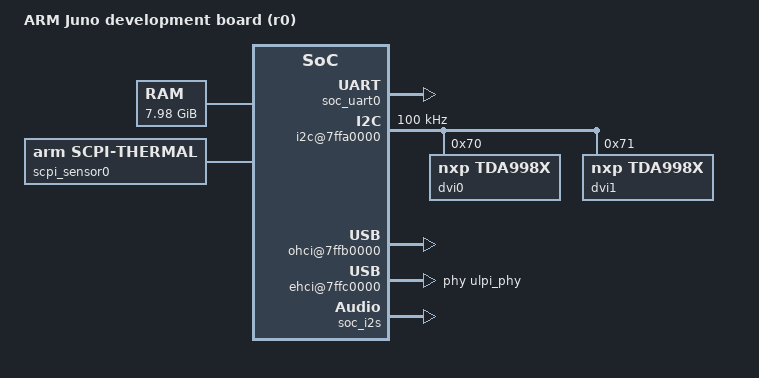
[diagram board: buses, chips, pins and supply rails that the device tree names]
/*
 * ARM Ltd. Juno Platform
 *
 * Copyright (c) 2013-2014 ARM Ltd.
 *
 * This file is licensed under a dual GPLv2 or BSD license.
 */

/dts-v1/;

#include <dt-bindings/interrupt-controller/arm-gic.h>
#include <dt-bindings/thermal/thermal.h>

/ {
	model = "ARM Juno development board (r0)";
	compatible = "arm,juno", "arm,vexpress";
	interrupt-parent = <&gic>;
	#address-cells = <2>;
	#size-cells = <2>;

	aliases {
		serial0 = &soc_uart0;
	};

	chosen {
		stdout-path = &soc_uart0;
	};

	psci {
		compatible = "arm,psci-0.2";
		method = "smc";
	};

	cpus {
		#address-cells = <2>;
		#size-cells = <0>;

		cpu-map {
			cluster0: cluster0 {
				#cooling-cells = <2>; /* min followed by max */

				core0 {
					cpu = <&A57_0>;
				};
				core1 {
					cpu = <&A57_1>;
				};
			};

			cluster1: cluster1 {
				#cooling-cells = <2>; /* min followed by max */

				core0 {
					cpu = <&A53_0>;
				};
				core1 {
					cpu = <&A53_1>;
				};
				core2 {
					cpu = <&A53_2>;
				};
				core3 {
					cpu = <&A53_3>;
				};
			};
		};

		idle-states {
			entry-method = "arm,psci";

			CPU_SLEEP_0: cpu-sleep-0 {
				compatible = "arm,idle-state";
				arm,psci-suspend-param = <0x0010000>;
				local-timer-stop;
				entry-latency-us = <40>;
				exit-latency-us = <100>;
				min-residency-us = <2000>;
			};

			CLUSTER_SLEEP_0: cluster-sleep-0 {
				compatible = "arm,idle-state";
				arm,psci-suspend-param = <0x1010000>;
				local-timer-stop;
				entry-latency-us = <500>;
				exit-latency-us = <1000>;
				min-residency-us = <2500>;
			};
		};

		A57_0: cpu@0 {
			compatible = "arm,cortex-a57","arm,armv8";
			reg = <0x0 0x0>;
			device_type = "cpu";
			enable-method = "psci";
			cpu-idle-states = <&CPU_SLEEP_0 &CLUSTER_SLEEP_0>;
			clocks = <&scpi_dvfs 0>;
			clock-names = "vbig";
		};

		A57_1: cpu@1 {
			compatible = "arm,cortex-a57","arm,armv8";
			reg = <0x0 0x1>;
			device_type = "cpu";
			enable-method = "psci";
			cpu-idle-states = <&CPU_SLEEP_0 &CLUSTER_SLEEP_0>;
			clocks = <&scpi_dvfs 0>;
			clock-names = "vbig";
		};

		A53_0: cpu@100 {
			compatible = "arm,cortex-a53","arm,armv8";
			reg = <0x0 0x100>;
			device_type = "cpu";
			enable-method = "psci";
			cpu-idle-states = <&CPU_SLEEP_0 &CLUSTER_SLEEP_0>;
			clocks = <&scpi_dvfs 1>;
			clock-names = "vlittle";
		};

		A53_1: cpu@101 {
			compatible = "arm,cortex-a53","arm,armv8";
			reg = <0x0 0x101>;
			device_type = "cpu";
			enable-method = "psci";
			cpu-idle-states = <&CPU_SLEEP_0 &CLUSTER_SLEEP_0>;
			clocks = <&scpi_dvfs 1>;
			clock-names = "vlittle";
		};

		A53_2: cpu@102 {
			compatible = "arm,cortex-a53","arm,armv8";
			reg = <0x0 0x102>;
			device_type = "cpu";
			enable-method = "psci";
			cpu-idle-states = <&CPU_SLEEP_0 &CLUSTER_SLEEP_0>;
			clocks = <&scpi_dvfs 1>;
			clock-names = "vlittle";
		};

		A53_3: cpu@103 {
			compatible = "arm,cortex-a53","arm,armv8";
			reg = <0x0 0x103>;
			device_type = "cpu";
			enable-method = "psci";
			cpu-idle-states = <&CPU_SLEEP_0 &CLUSTER_SLEEP_0>;
			clocks = <&scpi_dvfs 1>;
			clock-names = "vlittle";
		};
	};

	memory@80000000 {
		device_type = "memory";
		/* last 16MB of the first memory area is reserved for secure world use by firmware */
		reg = <0x00000000 0x80000000 0x0 0x7f000000>,
		      <0x00000008 0x80000000 0x1 0x80000000>;
	};

	mailbox: mhu@2b1f0000 {
		compatible = "arm,mhu";
		reg = <0x0 0x2b1f0000 0x0 0x1000>;
		interrupts = <GIC_SPI 36 IRQ_TYPE_LEVEL_HIGH>,
			     <GIC_SPI 35 IRQ_TYPE_LEVEL_HIGH>;
		interrupt-names = "mhu_lpri_rx",
				  "mhu_hpri_rx";
		#mbox-cells = <1>;
	};

	gic: interrupt-controller@2c001000 {
		compatible = "arm,gic-400", "arm,cortex-a15-gic";
		reg = <0x0 0x2c010000 0 0x1000>,
		      <0x0 0x2c02f000 0 0x2000>,
		      <0x0 0x2c04f000 0 0x2000>,
		      <0x0 0x2c06f000 0 0x2000>;
		#address-cells = <0>;
		#interrupt-cells = <3>;
		interrupt-controller;
		interrupts = <GIC_PPI 9 (GIC_CPU_MASK_SIMPLE(6) | IRQ_TYPE_LEVEL_HIGH)>;
	};

	timer {
		compatible = "arm,armv8-timer";
		interrupts = <GIC_PPI 13 (GIC_CPU_MASK_SIMPLE(6) | IRQ_TYPE_LEVEL_LOW)>,
			     <GIC_PPI 14 (GIC_CPU_MASK_SIMPLE(6) | IRQ_TYPE_LEVEL_LOW)>,
			     <GIC_PPI 11 (GIC_CPU_MASK_SIMPLE(6) | IRQ_TYPE_LEVEL_LOW)>,
			     <GIC_PPI 10 (GIC_CPU_MASK_SIMPLE(6) | IRQ_TYPE_LEVEL_LOW)>;
	};

	timer@2a810000 {
		compatible = "arm,armv7-timer-mem";
		reg = <0x0 0x2a810000 0x0 0x10000>;
		arm,cnttidr = <0x1>;
		clock-frequency = <50000000>;
		#address-cells = <2>;
		#size-cells = <2>;
		ranges;
		frame@2a830000 {
			frame-number = <1>;
			interrupts = <0 60 4>;
			reg = <0x0 0x2a830000 0x0 0x10000>;
		};
	};

	pmu {
		compatible = "arm,armv8-pmuv3";
		interrupts = <GIC_SPI 18 IRQ_TYPE_LEVEL_HIGH>,
			     <GIC_SPI 22 IRQ_TYPE_LEVEL_HIGH>,
			     <GIC_SPI 26 IRQ_TYPE_LEVEL_HIGH>,
			     <GIC_SPI 30 IRQ_TYPE_LEVEL_HIGH>,
			     <GIC_SPI 02 IRQ_TYPE_LEVEL_HIGH>,
			     <GIC_SPI 06 IRQ_TYPE_LEVEL_HIGH>;
	};

	sram: sram@2e000000 {
		compatible = "arm,juno-sram-ns", "mmio-sram";
		reg = <0x0 0x2e000000 0x0 0x8000>;

		#address-cells = <1>;
		#size-cells = <1>;
		ranges = <0 0x0 0x2e000000 0x8000>;

		cpu_scp_lpri: scp-shmem@0 {
			compatible = "arm,juno-scp-shmem";
			reg = <0x0 0x200>;
		};

		cpu_scp_hpri: scp-shmem@200 {
			compatible = "arm,juno-scp-shmem";
			reg = <0x200 0x200>;
		};
	};

	scpi_sensor0: scpi-sensor@0 {
			compatible = "arm,scpi-thermal";
			#thermal-sensor-cells = <1>;
	};

	thermal-zones {
		soc_thermal {
			polling-delay = <1000>;
			polling-delay-passive = <100>;
			sustainable-power = <2500>;

			thermal-sensors = <&scpi_sensor0 3>;

			trips {
				threshold: trip-point@0 {
					temperature = <55000>;
					hysteresis = <1000>;
					type = "passive";
				};
				target: trip-point@1 {
					temperature = <65000>;
					hysteresis = <1000>;
					type = "passive";
				};
			};

			cooling-maps {
				map0 {
				     trip = <&target>;
				     cooling-device = <&cluster0 0 4>;
                                     contribution = <1024>;
				};
				map1 {
				     trip = <&target>;
				     cooling-device = <&cluster1 0 4>;
                                     contribution = <2048>;
				};
				map2 {
				    trip = <&target>;
				    cooling-device = <&gpu 0 4>;
                                    contribution = <1024>;
				};
			};
		};
	};

	/include/ "juno-clocks.dtsi"

	hwmon@1c010000 {
		compatible = "arm,v2m-juno-meters";
		reg = <0x0 0x1c010000 0x0 0x1000>;
	};

	soc_i2sclk: clki2s {
		compatible = "fixed-clock";
		#clock-cells = <0>;
		clock-frequency = <2116800>;
		clock-output-names = "i2sclk";
	};

	dma0: dma@7ff00000 {
		compatible = "arm,pl330", "arm,primecell";
		reg = <0x0 0x7ff00000 0 0x1000>;
		#dma-cells = <1>;
		#dma-channels = <8>;
		#dma-requests = <32>;
		interrupts = <GIC_SPI 88 IRQ_TYPE_LEVEL_HIGH>,
			     <GIC_SPI 89 IRQ_TYPE_LEVEL_HIGH>,
			     <GIC_SPI 90 IRQ_TYPE_LEVEL_HIGH>,
			     <GIC_SPI 91 IRQ_TYPE_LEVEL_HIGH>,
			     <GIC_SPI 108 IRQ_TYPE_LEVEL_HIGH>,
			     <GIC_SPI 109 IRQ_TYPE_LEVEL_HIGH>,
			     <GIC_SPI 110 IRQ_TYPE_LEVEL_HIGH>,
			     <GIC_SPI 111 IRQ_TYPE_LEVEL_HIGH>;
		clocks = <&soc_faxiclk>;
		clock-names = "apb_pclk";
	};

	soc_uart0: uart@7ff80000 {
		compatible = "arm,pl011", "arm,primecell";
		reg = <0x0 0x7ff80000 0x0 0x1000>;
		interrupts = <GIC_SPI 83 IRQ_TYPE_LEVEL_HIGH>;
		clocks = <&soc_uartclk>, <&soc_refclk100mhz>;
		clock-names = "uartclk", "apb_pclk";
	};

	i2c@7ffa0000 {
		compatible = "snps,designware-i2c";
		reg = <0x0 0x7ffa0000 0x0 0x1000>;
		#address-cells = <1>;
		#size-cells = <0>;
		interrupts = <GIC_SPI 104 IRQ_TYPE_LEVEL_HIGH>;
		clock-frequency = <100000>;
		i2c-sda-hold-time-ns = <500>;
		clocks = <&soc_smc50mhz>;

		dvi0: dvi-transmitter@70 {
			compatible = "nxp,tda998x";
			reg = <0x70>;
			audio-ports = <0x03>, <0x04>;
			audio-port-names = "i2s", "spdif";
			#sound-dai-cells = <1>;
		};

		dvi1: dvi-transmitter@71 {
			compatible = "nxp,tda998x";
			reg = <0x71>;
			audio-ports = <0x03>, <0x04>;
			audio-port-names = "i2s", "spdif";
			#sound-dai-cells = <1>;
		};
	};

	ohci@7ffb0000 {
		compatible = "generic-ohci";
		reg = <0x0 0x7ffb0000 0x0 0x10000>;
		interrupts = <GIC_SPI 116 IRQ_TYPE_LEVEL_HIGH>;
		clocks = <&soc_usb48mhz>;
	};

	ulpi_phy: phy@0 {
		compatible = "phy-ulpi-generic";
		reg = <0x0 0x94 0x0 0x4>;
		phy-id = <0>;
	};

	ehci@7ffc0000 {
		compatible = "snps,ehci-h20ahb";
		reg = <0x0 0x7ffc0000 0x0 0x10000>;
		interrupts = <GIC_SPI 117 IRQ_TYPE_LEVEL_HIGH>;
		clocks = <&soc_usb48mhz>;
		phys = <&ulpi_phy>;
	};

	memory-controller@7ffd0000 {
		compatible = "arm,pl354", "arm,primecell";
		reg = <0 0x7ffd0000 0 0x1000>;
		interrupts = <GIC_SPI 86 IRQ_TYPE_LEVEL_HIGH>,
			     <GIC_SPI 87 IRQ_TYPE_LEVEL_HIGH>;
		clocks = <&soc_smc50mhz>;
		clock-names = "apb_pclk";
	};

	hdlcd@7ff60000 {
		compatible = "arm,hdlcd";
		reg = <0 0x7ff60000 0 0x1000>;
		interrupts = <0 85 4>;
		clocks = <&pixel_clk 0>;
		clock-names = "pxlclk";
		i2c-slave = <&dvi0>;

		/* display-timings {
			native-mode = <&timing0>;
			timing0: timing@0 {
				/* 1024 x 768 framebufer, standard VGA timings * /
				clock-frequency = <65000>;
				hactive = <1024>;
				vactive = <768>;
				hfront-porch = <24>;
				hback-porch = <160>;
				hsync-len = <136>;
				vfront-porch = <3>;
				vback-porch = <29>;
				vsync-len = <6>;
			};
		}; */
	};

	/* hdlcd@7ff50000 {
		compatible = "arm,hdlcd";
		reg = <0 0x7ff50000 0 0x1000>;
		interrupts = <0 93 4>;
		clocks = <&pixel_clk 1>;
		clock-names = "pxlclk";
		i2c-slave = <&dvi1>;

		display-timings {
			native-mode = <&timing1>;
			timing1: timing@1 {
				/* 1024 x 768 framebufer, standard VGA timings * /
				clock-frequency = <65000>;
				hactive = <1024>;
				vactive = <768>;
				hfront-porch = <24>;
				hback-porch = <160>;
				hsync-len = <136>;
				vfront-porch = <3>;
				vback-porch = <29>;
				vsync-len = <6>;
			};
		};
	}; */

	gpu: gpu@0x2d000000 {
		compatible = "arm,malit6xx", "arm,mali";
		#cooling-cells = <2>; /* min followed by max */
		reg = <0x0 0x2d000000 0x0 0x4000>;
		interrupts = <0 33 4>, <0 34 4>, <0 32 4>;
		interrupt-names = "JOB", "MMU", "GPU";
		clocks = <&scpi_dvfs 2>;
		clock-names = "clk_mali";
	};

	soc_i2s: i2s@7ff90000 {
		compatible = "snps,i2s";
		reg = <0x0 0x7ff90000 0x0 0x1000>;
		clocks = <&audio_clk 0>, <&soc_refclk100mhz>;
		clock-names = "i2sclk", "apb_pclk";
		#sound-dai-cells = <0>;
		dmas = <&dma0 5>;
		dma-names = "tx";
	};

	hdmi_audio: hdmi_audio@0 {
		compatible = "linux,hdmi-audio";
		#sound-dai-cells = <0>;
		status = "okay";
	};

	sound {
		compatible = "simple-audio-card";

		simple-audio-card,format = "i2s";

		simple-audio-card,cpu {
			sound-dai = <&soc_i2s>;
		};

		simple-audio-card,codec {
			sound-dai = <&dvi0 0>;
		};

	};

	smb {
		compatible = "simple-bus";
		#address-cells = <2>;
		#size-cells = <1>;
		ranges = <0 0 0 0x08000000 0x04000000>,
			 <1 0 0 0x14000000 0x04000000>,
			 <2 0 0 0x18000000 0x04000000>,
			 <3 0 0 0x1c000000 0x04000000>,
			 <4 0 0 0x0c000000 0x04000000>,
			 <5 0 0 0x10000000 0x04000000>;

		#interrupt-cells = <1>;
		interrupt-map-mask = <0 0 15>;
		interrupt-map = <0 0  0 &gic 0  68 IRQ_TYPE_LEVEL_HIGH>,
				<0 0  1 &gic 0  69 IRQ_TYPE_LEVEL_HIGH>,
				<0 0  2 &gic 0  70 IRQ_TYPE_LEVEL_HIGH>,
				<0 0  3 &gic 0 160 IRQ_TYPE_LEVEL_HIGH>,
				<0 0  4 &gic 0 161 IRQ_TYPE_LEVEL_HIGH>,
				<0 0  5 &gic 0 162 IRQ_TYPE_LEVEL_HIGH>,
				<0 0  6 &gic 0 163 IRQ_TYPE_LEVEL_HIGH>,
				<0 0  7 &gic 0 164 IRQ_TYPE_LEVEL_HIGH>,
				<0 0  8 &gic 0 165 IRQ_TYPE_LEVEL_HIGH>,
				<0 0  9 &gic 0 166 IRQ_TYPE_LEVEL_HIGH>,
				<0 0 10 &gic 0 167 IRQ_TYPE_LEVEL_HIGH>,
				<0 0 11 &gic 0 168 IRQ_TYPE_LEVEL_HIGH>,
				<0 0 12 &gic 0 169 IRQ_TYPE_LEVEL_HIGH>;

		/include/ "juno-motherboard.dtsi"
	};
};
